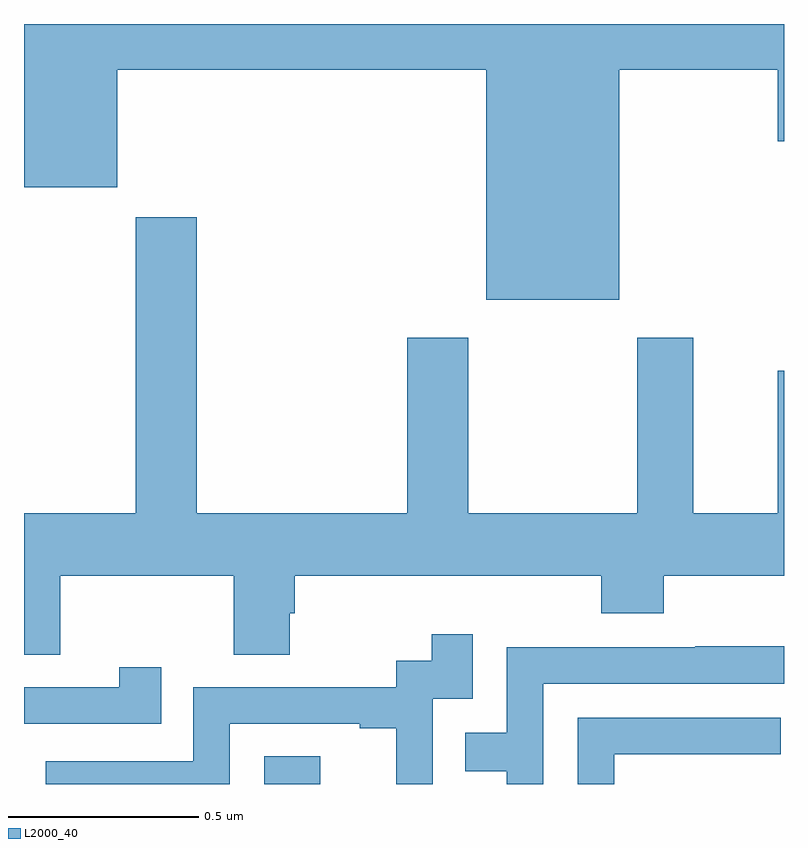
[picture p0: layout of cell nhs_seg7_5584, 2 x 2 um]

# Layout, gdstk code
import gdstk
lib = gdstk.Library(unit=1e-6, precision=1e-09)
def R(c, l, rs):  # rectangles x0, y0, x1, y1
    for r in rs: c.add(gdstk.rectangle(r[:2], r[2:], *l))
def P(c, l, *ps):  # polygons
    for p in ps: c.add(gdstk.Polygon(p, *l))
L2000_40 = (2000, 40)

nhs_seg7_5584 = lib.new_cell('nhs_seg7_5584')
R(nhs_seg7_5584, L2000_40, [(187.632,1068,187.78,1068.073)])
P(nhs_seg7_5584, L2000_40, [(188.566,1069.88),(188.984,1069.88),(188.984,1069.692),(189,1069.692),(189,1070),(187,1070),(187,1069.571),(187.246,1069.571),(187.246,1069.88),(188.216,1069.88),(188.216,1069.274),(188.566,1069.274)],
  [(187.095,1068.548),(187.552,1068.548),(187.552,1068.34),(187.699,1068.34),(187.699,1068.45),(187.712,1068.45),(187.712,1068.548),(188.519,1068.548),(188.519,1068.449),(188.684,1068.449),(188.684,1068.548),(189,1068.548),(189,1069.087),(188.984,1069.087),(188.984,1068.712),(188.761,1068.712),(188.761,1069.174),(188.614,1069.174),(188.614,1068.712),(188.169,1068.712),(188.169,1069.174),(188.009,1069.174),(188.009,1068.712),(187.454,1068.712),(187.454,1069.492),(187.294,1069.492),(187.294,1068.712),(187,1068.712),(187,1068.34),(187.095,1068.34)],
  [(187.542,1068.159),(187.883,1068.159),(187.883,1068.147),(187.979,1068.147),(187.979,1068),(188.076,1068),(188.076,1068.225),(188.181,1068.225),(188.181,1068.394),(188.073,1068.394),(188.073,1068.324),(187.98,1068.324),(187.98,1068.255),(187.446,1068.255),(187.446,1068.06),(187.057,1068.06),(187.057,1068),(187.542,1068)],
  [(188.367,1068.264),(189,1068.264),(189,1068.362),(188.767,1068.362),(188.767,1068.36),(188.271,1068.36),(188.271,1068.135),(188.161,1068.135),(188.161,1068.034),(188.271,1068.034),(188.271,1068),(188.367,1068)],
  [(187.361,1068.307),(187.25,1068.307),(187.25,1068.255),(187,1068.255),(187,1068.159),(187.361,1068.159)],
  [(188.553,1068.078),(188.992,1068.078),(188.992,1068.174),(188.457,1068.174),(188.457,1068),(188.553,1068)])

lib.write_gds('nhs_seg7_5584.gds')
